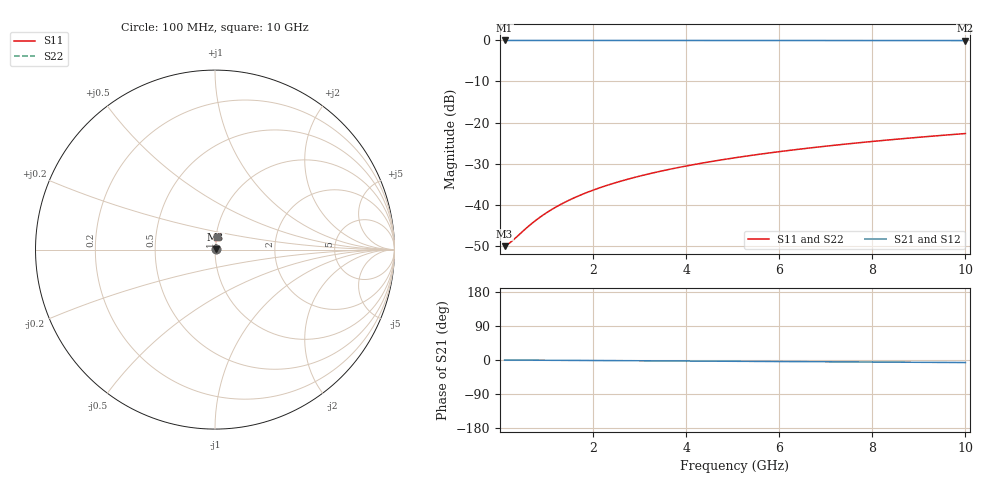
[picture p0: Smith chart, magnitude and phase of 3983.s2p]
# Hz S RI R 50.00
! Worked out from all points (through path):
!   100 points, 100 MHz to 10 GHz, reference 50 ohm
!   highest |S21| = -0.03 dB at 100 MHz (marker M1); lowest = -0.1 dB at 10 GHz (marker M2)
!   lowest |S11| = -50.0 dB at 100 MHz (marker M3), VSWR 1.01, Z = 50.3 + j0.074 ohm
!   |S11| at or under -10 dB: start of sweep to end of sweep
!   |S22| runs from -50.0 to -22.6 dB; largest |S21 - S12| = 0
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1e8  0.00307 0.000735  0.9969 -0.00117  0.9969 -0.00117  0.00307 0.000735
2e8  0.00309 0.00147  0.9969 -0.00234  0.9969 -0.00234  0.00309 0.00147
3e8  0.00311 0.00221  0.9969 -0.0035  0.9969 -0.0035  0.00311 0.00221
5e8  0.00315 0.00368  0.9968 -0.00584  0.9968 -0.00584  0.00315 0.00368
7e8  0.00318 0.00515  0.9968 -0.00817  0.9968 -0.00817  0.00318 0.00515
8e8  0.00321 0.00588  0.9968 -0.00934  0.9968 -0.00934  0.00321 0.00588
1e9  0.00325 0.00735  0.9967 -0.0117  0.9967 -0.0117  0.00325 0.00735
1.2e9  0.0033 0.00882  0.9967 -0.014  0.9967 -0.014  0.0033 0.00882
1.4e9  0.00335 0.0103  0.9966 -0.0163  0.9966 -0.0163  0.00335 0.0103
1.6e9  0.00342 0.0118  0.9966 -0.0187  0.9966 -0.0187  0.00342 0.0118
1.8e9  0.00348 0.0132  0.9965 -0.021  0.9965 -0.021  0.00348 0.0132
2.1e9  0.0036 0.0154  0.9964 -0.0245  0.9964 -0.0245  0.0036 0.0154
2.5e9  0.00377 0.0184  0.9962 -0.0292  0.9962 -0.0292  0.00377 0.0184
2.9e9  0.00397 0.0213  0.9959 -0.0338  0.9959 -0.0338  0.00397 0.0213
3.4e9  0.00425 0.025  0.9956 -0.0397  0.9956 -0.0397  0.00425 0.025
4.2e9  0.0048 0.0308  0.995 -0.049  0.995 -0.049  0.0048 0.0308
5.1e9  0.00554 0.0374  0.9942 -0.0595  0.9942 -0.0595  0.00554 0.0374
5.9e9  0.00632 0.0432  0.9933 -0.0688  0.9933 -0.0688  0.00632 0.0432
6.7e9  0.00721 0.049  0.9923 -0.078  0.9923 -0.078  0.00721 0.049
7.5e9  0.0082 0.0548  0.9912 -0.0873  0.9912 -0.0873  0.0082 0.0548
8.4e9  0.00944 0.0613  0.9899 -0.0977  0.9899 -0.0977  0.00944 0.0613
1e10  0.012 0.0727  0.987 -0.1161  0.987 -0.1161  0.012 0.0727
